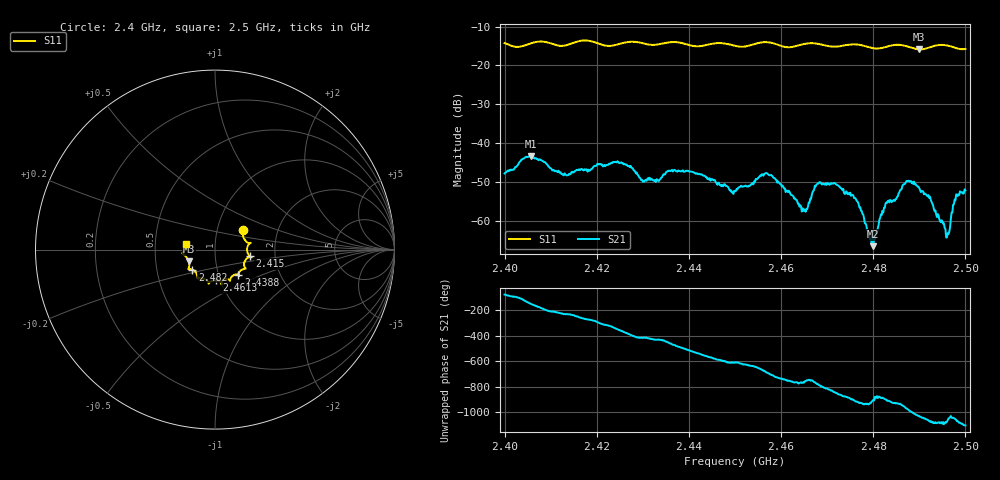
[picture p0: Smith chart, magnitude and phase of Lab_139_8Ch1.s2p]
# Hz S RI R 50
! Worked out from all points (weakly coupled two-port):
!   601 points, 2.4 GHz to 2.5 GHz, reference 50 ohm
!   highest |S21| = -43.44 dB at 2.4057 GHz (marker M1); lowest = -66.5 dB at 2.48 GHz (marker M2)
!   lowest |S11| = -15.9 dB at 2.49 GHz (marker M3), VSWR 1.38, Z = 36.9 - j4.88 ohm
!   |S11| at or under -10 dB: start of sweep to end of sweep
!   S12 and S22 are empty: the file has one direction only
!   S11 on the Smith chart (normalised r, x): 2.4 GHz: 1.33, +0.31; 2.415 GHz: 1.47, -0.11; 2.4388 GHz: 1.24, -0.36; 2.4613 GHz: 0.96, -0.34; 2.482 GHz: 0.76, -0.17; 2.5 GHz: 0.72, +0.05
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2.4e9  0.158 0.1119  0.000952 -0.00397  0 0  0 0
2.405667e9  0.1885 0.0361  -0.00583 -0.00337  0 0  0 0
2.415e9  0.1925 -0.036  -0.0022 0.00361  0 0  0 0
2.416667e9  0.2036 -0.0438  -0.00086 0.00459  0 0  0 0
2.424167e9  0.1618 -0.0869  0.00555 0.00154  0 0  0 0
2.433333e9  0.1322 -0.1314  0.00103 -0.00311  0 0  0 0
2.438833e9  0.1298 -0.1405  -0.00328 -0.00276  0 0  0 0
2.45e9  0.0689 -0.165  -0.000875 0.00225  0 0  0 0
2.456833e9  0.0381 -0.1953  0.00355 0.00212  0 0  0 0
2.461333e9  0.0075 -0.1712  0.00203 -0.00134  0 0  0 0
2.465e9  -0.0333 -0.1856  0.000913 -0.000977  0 0  0 0
2.466667e9  -0.0349 -0.1901  0.00184 -0.00111  0 0  0 0
2.468167e9  -0.0347 -0.1854  0.00119 -0.00283  0 0  0 0
2.475167e9  -0.0936 -0.1608  -0.00209 -0.000164  0 0  0 0
2.48e9  -0.1064 -0.1275  -0.000472 2.81e-05  0 0  0 0
2.482e9  -0.1257 -0.1118  -0.00131 -0.000318  0 0  0 0
2.483333e9  -0.1394 -0.1089  -0.00179 0.000343  0 0  0 0
2.4875e9  -0.1447 -0.0981  -0.000666 0.00317  0 0  0 0
2.49e9  -0.1471 -0.0645  0.00169 0.00199  0 0  0 0
2.496e9  -0.1799 -0.0172  0.000612 6.8e-05  0 0  0 0
2.497833e9  -0.1679 -0.00262  0.00168 0.000748  0 0  0 0
2.5e9  -0.1593 0.0325  0.00224 -0.00102  0 0  0 0
